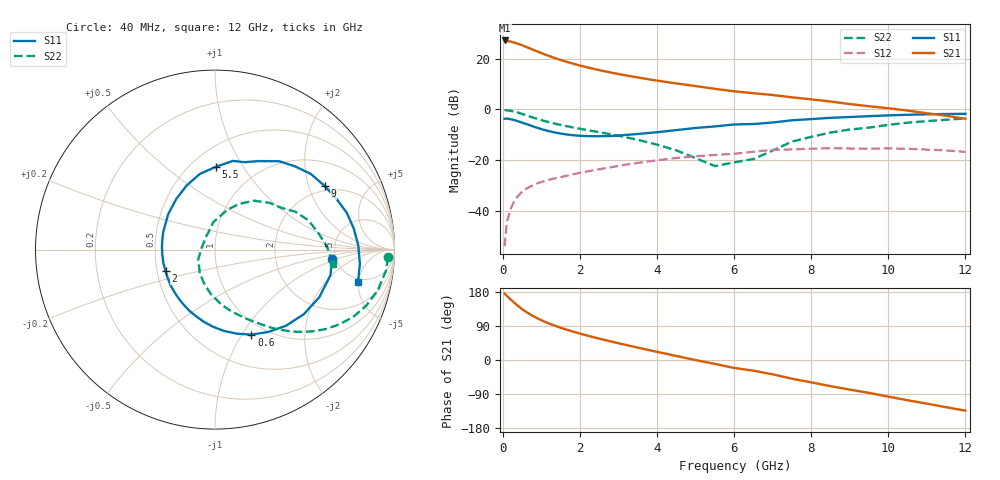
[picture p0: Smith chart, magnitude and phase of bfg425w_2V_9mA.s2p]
! Filename: 29bfg425.001
! BFG425W Field C1
! V1=8.439E-001V,V2=2.000E+000V, I1=1.211E-004A, I2=8.990E-003A
# GHz  S  MA  R 50
!  S11  S21  S12  S22
!Freq(GHz)  Mag  Ang  Mag  Ang  Mag  Ang  Mag  Ang
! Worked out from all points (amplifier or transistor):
!   44 points, 40 MHz to 12 GHz, reference 50 ohm
!   highest |S21| = 27.2 dB at 40 MHz (marker M1)
!   |S21| within 3 dB of that: start of sweep to 672.1 MHz
!   unconditionally stable (mu >= 1): 1.951 GHz to end of sweep
!   at 700 MHz: K = 0.50, MSG = 27.2 dB, |S12| = -30.5 dB
!   at 2.4 GHz: K = 1.09, MAG = 18.0 dB, |S12| = -23.9 dB
!   at 12 GHz: K = 1.40, MAG = 2.8 dB, |S12| = -16.8 dB
!   S11 on the Smith chart (normalised r, x): 40 MHz: 4.60, -0.89; 600 MHz: 0.85, -1.10; 2 GHz: 0.55, -0.15; 5.5 GHz: 0.65, +0.77; 9 GHz: 1.82, +2.57; 12 GHz: 4.51, -4.89
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0.04  0.654 -4.8  22.89 175.1  0.002 78.6  0.965 -2.6
0.2  0.639 -24.5  21.66 159.3  0.011 77.2  0.935 -14.0
0.3  0.612 -36.0  20.69 150.4  0.016 71.9  0.899 -20.3
0.4  0.58 -47.0  19.55 141.8  0.02 66.7  0.856 -26.0
0.5  0.546 -57.3  18.34 133.7  0.024 62.8  0.809 -31.0
0.6  0.515 -66.8  17.07 126.8  0.027 59.5  0.764 -35.3
0.8  0.455 -84.0  14.79 114.8  0.032 54.2  0.681 -42.2
0.9  0.43 -91.5  13.78 109.5  0.035 52.3  0.646 -45.2
1  0.407 -98.8  12.85 104.7  0.037 50.6  0.613 -47.8
1.2  0.371 -112.1  11.27 96.0  0.041 48.0  0.558 -52.3
1.6  0.324 -135.9  8.927 81.7  0.048 44.5  0.474 -59.8
2  0.301 -156.4  7.32 69.6  0.056 41.4  0.414 -66.6
2.2  0.297 -165.9  6.703 64.1  0.06 39.8  0.388 -70.1
3  0.305 160.6  4.967 44.1  0.077 32.3  0.301 -84.5
3.5  0.327 143.0  4.25 32.5  0.088 26.7  0.251 -94.9
4.5  0.39 114.0  3.252 10.6  0.11 13.4  0.155 -123.1
5.5  0.461 89.4  2.543 -10.4  0.126 -1.2  0.076 175.3
6.5  0.514 71.4  2.083 -28.3  0.146 -12.4  0.105 109.4
8.5  0.681 38.1  1.427 -69.1  0.171 -48.7  0.349 51.4
9  0.707 29.9  1.274 -78.1  0.169 -56.8  0.4 40.7
10.5  0.782 8.6  0.947 -106.2  0.167 -83.5  0.546 17.3
12  0.817 -12.7  0.652 -133.6  0.145 -113.2  0.662 -6.8
